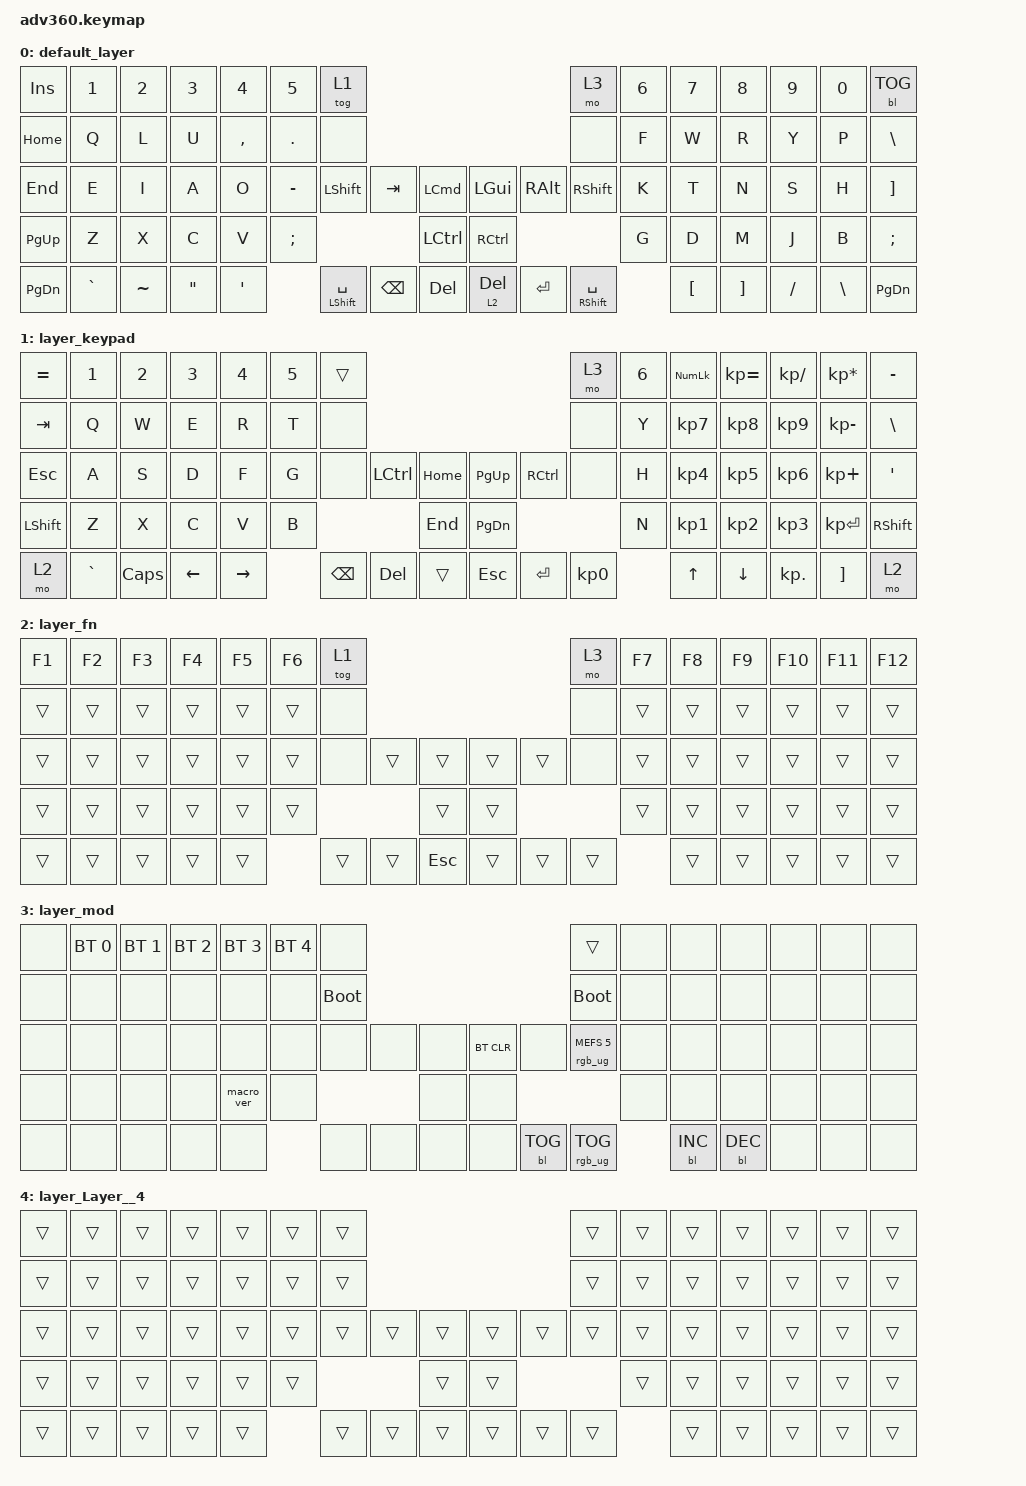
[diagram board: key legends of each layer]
/*
 * Copyright (c) 2020 The ZMK Contributors
 *
 * SPDX-License-Identifier: MIT
 */
/* THIS FILE WAS GENERATED!
 *
 * This file was generated automatically. You may or may not want to
 * edit it directly.
 */

#include <behaviors.dtsi>
#include <dt-bindings/zmk/backlight.h>
#include <dt-bindings/zmk/bt.h>
#include <dt-bindings/zmk/keys.h>
#include <dt-bindings/zmk/rgb.h>

/ {
    behaviors {
        #include "macros.dtsi"
    #include "version.dtsi"

        hm: homerow_mods {
            compatible = "zmk,behavior-hold-tap";
            label = "HOMEROW_MODS";
            #binding-cells = <2>;
            tapping-term-ms = <200>;
            quick_tap_ms = <175>;
            flavor = "tap-preferred";
            bindings = <&kp>, <&kp>;
        };
    };

    keymap {
        compatible = "zmk,keymap";

        default_layer {
            bindings = <
&kp INSERT     &kp N1     &kp N2     &kp N3             &kp N4            &kp N5         &tog 1                                                                                       &mo 3                  &kp N6  &kp N7            &kp N8             &kp N9     &kp N0         &bl BL_TOG
&kp HOME       &kp Q      &kp L      &kp U              &kp COMMA         &kp PERIOD     &none                                                                                        &none                  &kp F   &kp W             &kp R              &kp Y      &kp P          &kp BACKSLASH
&kp END        &kp E      &kp I      &kp A              &kp O             &kp MINUS      &kp LEFT_SHIFT        &kp TAB        &kp LEFT_COMMAND      &kp LGUI           &kp RIGHT_ALT  &kp RIGHT_SHIFT        &kp K   &kp T             &kp N              &kp S      &kp H          &kp RIGHT_BRACKET
&kp PAGE_UP    &kp Z      &kp X      &kp C              &kp V             &kp SEMICOLON                                       &kp LEFT_CONTROL      &kp RIGHT_CONTROL                                        &kp G   &kp D             &kp M              &kp J      &kp B          &kp SEMICOLON
&kp PAGE_DOWN  &kp GRAVE  &kp TILDE  &kp DOUBLE_QUOTES  &kp SINGLE_QUOTE                 &mt LEFT_SHIFT SPACE  &kp BACKSPACE  &kp DELETE            &lt 2 DELETE       &kp ENTER      &mt RIGHT_SHIFT SPACE          &kp LEFT_BRACKET  &kp RIGHT_BRACKET  &kp SLASH  &kp BACKSLASH  &kp PAGE_DOWN
            >;
        };

        layer_keypad {
            bindings = <
&kp EQUAL  &kp N1     &kp N2    &kp N3    &kp N4     &kp N5  &trans                                                       &mo 3      &kp N6  &kp KP_NUM  &kp KP_EQUAL  &kp KP_DIVIDE  &kp KP_MULTIPLY  &kp MINUS
&kp TAB    &kp Q      &kp W     &kp E     &kp R      &kp T   &none                                                        &none      &kp Y   &kp KP_N7   &kp KP_N8     &kp KP_N9      &kp KP_MINUS     &kp BSLH
&kp ESC    &kp A      &kp S     &kp D     &kp F      &kp G   &none     &kp LCTRL  &kp HOME      &kp PAGE_UP    &kp RCTRL  &none      &kp H   &kp KP_N4   &kp KP_N5     &kp KP_N6      &kp KP_PLUS      &kp SQT
&kp LSHFT  &kp Z      &kp X     &kp C     &kp V      &kp B                        &kp END       &kp PAGE_DOWN                        &kp N   &kp KP_N1   &kp KP_N2     &kp KP_N3      &kp KP_ENTER     &kp RSHFT
&mo 2      &kp GRAVE  &kp CAPS  &kp LEFT  &kp RIGHT          &kp BSPC  &kp DEL    &trans        &kp ESCAPE     &kp ENTER  &kp KP_N0          &kp UP      &kp DOWN      &kp KP_DOT     &kp RBKT         &mo 2
            >;
        };

        layer_fn {
            bindings = <
&kp F1  &kp F2  &kp F3  &kp F4  &kp F5  &kp F6  &tog 1                                          &mo 3   &kp F7  &kp F8  &kp F9  &kp F10  &kp F11  &kp F12
&trans  &trans  &trans  &trans  &trans  &trans  &none                                           &none   &trans  &trans  &trans  &trans   &trans   &trans
&trans  &trans  &trans  &trans  &trans  &trans  &none   &trans  &trans          &trans  &trans  &none   &trans  &trans  &trans  &trans   &trans   &trans
&trans  &trans  &trans  &trans  &trans  &trans                  &trans          &trans                  &trans  &trans  &trans  &trans   &trans   &trans
&trans  &trans  &trans  &trans  &trans          &trans  &trans  &kp ESCAPE      &trans  &trans  &trans          &trans  &trans  &trans   &trans   &trans
            >;
        };

        layer_mod {
            bindings = <
&none  &bt BT_SEL 0  &bt BT_SEL 1  &bt BT_SEL 2  &bt BT_SEL 3  &bt BT_SEL 4  &none                                                  &trans                  &none  &none       &none       &none  &none  &none
&none  &none         &none         &none         &none         &none         &bootloader                                            &bootloader             &none  &none       &none       &none  &none  &none
&none  &none         &none         &none         &none         &none         &none        &none  &none      &bt BT_CLR  &none       &rgb_ug RGB_MEFS_CMD 5  &none  &none       &none       &none  &none  &none
&none  &none         &none         &none         &macro_ver    &none                             &none      &none                                           &none  &none       &none       &none  &none  &none
&none  &none         &none         &none         &none                       &none        &none  &none      &none       &bl BL_TOG  &rgb_ug RGB_TOG                &bl BL_INC  &bl BL_DEC  &none  &none  &none
            >;
        };

        layer_Layer__4 {
            bindings = <
&trans  &trans  &trans  &trans  &trans  &trans  &trans                                      &trans  &trans  &trans  &trans  &trans  &trans  &trans
&trans  &trans  &trans  &trans  &trans  &trans  &trans                                      &trans  &trans  &trans  &trans  &trans  &trans  &trans
&trans  &trans  &trans  &trans  &trans  &trans  &trans  &trans  &trans      &trans  &trans  &trans  &trans  &trans  &trans  &trans  &trans  &trans
&trans  &trans  &trans  &trans  &trans  &trans                  &trans      &trans                  &trans  &trans  &trans  &trans  &trans  &trans
&trans  &trans  &trans  &trans  &trans          &trans  &trans  &trans      &trans  &trans  &trans          &trans  &trans  &trans  &trans  &trans
            >;
        };
    };
};
